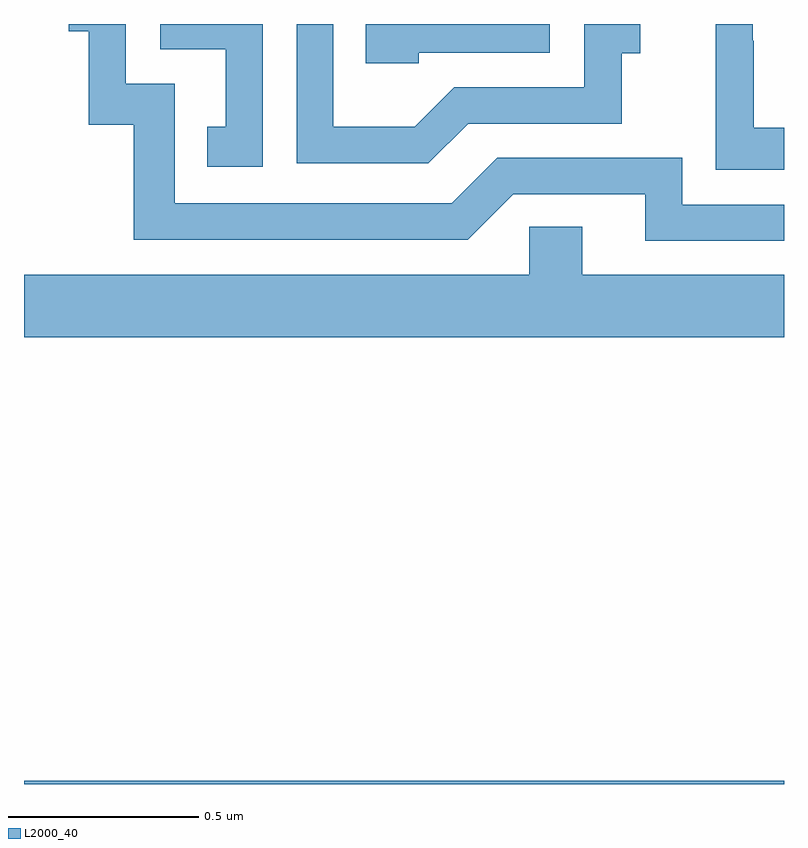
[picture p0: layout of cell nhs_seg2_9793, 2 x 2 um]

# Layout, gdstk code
import gdstk
lib = gdstk.Library(unit=1e-6, precision=1e-09)
def R(c, l, rs):  # rectangles x0, y0, x1, y1
    for r in rs: c.add(gdstk.rectangle(r[:2], r[2:], *l))
def P(c, l, *ps):  # polygons
    for p in ps: c.add(gdstk.Polygon(p, *l))
L2000_40 = (2000, 40)

nhs_seg2_9793 = lib.new_cell('nhs_seg2_9793')
R(nhs_seg2_9793, L2000_40, [(233,639.8,235,639.808)])
P(nhs_seg2_9793, L2000_40, [(234.169,641.538),(234.573,641.538),(234.573,641.723),(234.622,641.723),(234.622,641.8),(234.474,641.8),(234.474,641.634),(234.132,641.634),(234.028,641.53),(233.814,641.53),(233.814,641.8),(233.718,641.8),(233.718,641.433),(234.064,641.433)],
  [(235,641.325),(234.732,641.325),(234.732,641.448),(234.246,641.448),(234.126,641.328),(233.397,641.328),(233.397,641.643),(233.268,641.643),(233.268,641.8),(233.118,641.8),(233.118,641.781),(233.171,641.781),(233.171,641.535),(233.289,641.535),(233.289,641.232),(234.168,641.232),(234.288,641.352),(234.635,641.352),(234.635,641.229),(235,641.229)],
  [(234.039,641.724),(234.384,641.724),(234.384,641.8),(233.899,641.8),(233.899,641.697),(234.039,641.697)],
  [(235,641.527),(234.92,641.527),(234.92,641.756),(234.918,641.756),(234.918,641.8),(234.821,641.8),(234.821,641.623),(234.82,641.623),(234.82,641.417),(235,641.417)],
  [(233.628,641.8),(233.358,641.8),(233.358,641.733),(233.531,641.733),(233.531,641.529),(233.482,641.529),(233.482,641.424),(233.628,641.424)],
  [(235,641.14),(234.469,641.14),(234.469,641.267),(234.33,641.267),(234.33,641.14),(233,641.14),(233,640.976),(235,640.976)])

lib.write_gds('nhs_seg2_9793.gds')
